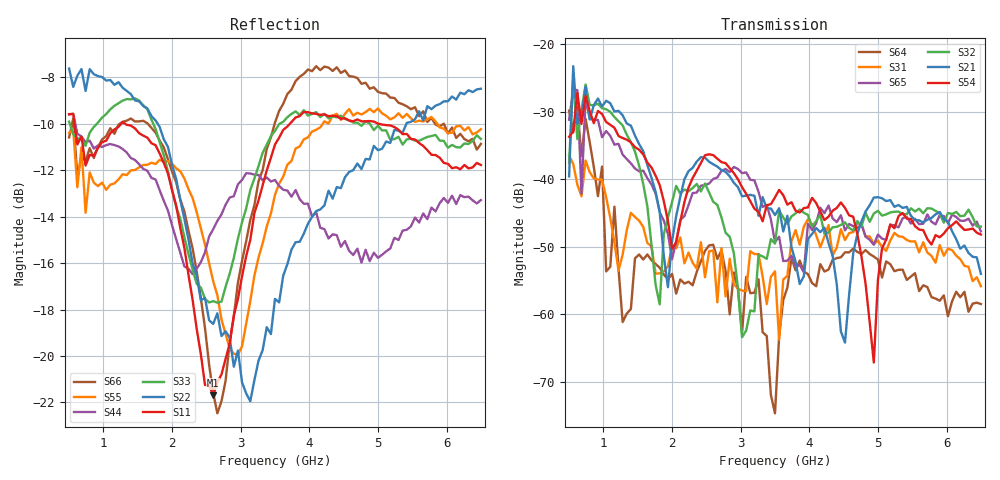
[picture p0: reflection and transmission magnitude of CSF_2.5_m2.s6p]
!Keysight Technologies,M9804A,MY58100912,A.14.10.03
!Date: Thursday, April 27, 2023 10:28:33
!Correction: S11(C  6-Port  )
!S12(C  6-Port  )
!S13(C  6-Port  )
!S14(C  6-Port  )
!S15(C  6-Port  )
!S16(C  6-Port  )
!S21(C  6-Port  )
!S22(C  6-Port  )
!S23(C  6-Port  )
!S24(C  6-Port  )
!S25(C  6-Port  )
!S26(C  6-Port  )
!S31(C  6-Port  )
!S32(C  6-Port  )
!S33(C  6-Port  )
!S34(C  6-Port  )
!S35(C  6-Port  )
!S36(C  6-Port  )
!S41(C  6-Port  )
!S42(C  6-Port  )
!S43(C  6-Port  )
!S44(C  6-Port  )
!S45(C  6-Port  )
!S46(C  6-Port  )
!S51(C  6-Port  )
!S52(C  6-Port  )
!S53(C  6-Port  )
!S54(C  6-Port  )
!S55(C  6-Port  )
!S56(C  6-Port  )
!S61(C  6-Port  )
!S62(C  6-Port  )
!S63(C  6-Port  )
!S64(C  6-Port  )
!S65(C  6-Port  )
!S66(C  6-Port  )
!S6P File: Measurement: :
# Hz S  RI  R 50
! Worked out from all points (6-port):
!   101 points, 500 MHz to 6.5 GHz, reference 50 ohm
!   strongest paths, dB at 500 MHz, 2 GHz, 3.5 GHz, 5 GHz, 6.5 GHz:
!     S54: -33.7, -50.3, -42.7, -54.9, -48.2
!     S21: -39.6, -49.2, -45.3, -42.7, -54.0
!     S32: -37.5, -43.4, -49.5, -44.7, -47.0
!     S65: -31.2, -51.9, -49.3, -48.2, -47.7
!     S31: -36.5, -49.9, -53.7, -49.1, -55.9
!     S64: -29.8, -54.0, -74.7, -51.9, -58.5
!   lowest |S11| = -21.7 dB at 2.6 GHz (marker M1), VSWR 1.18, Z = 42.7 + j2.09 ohm
!   |S11| at or under -10 dB: 579.2 MHz to 1.259 GHz (680.1 MHz wide, 74 % of centre); 1.316 GHz to 3.717 GHz (2.401 GHz wide, 95.4 % of centre); 5.011 GHz to end of sweep
